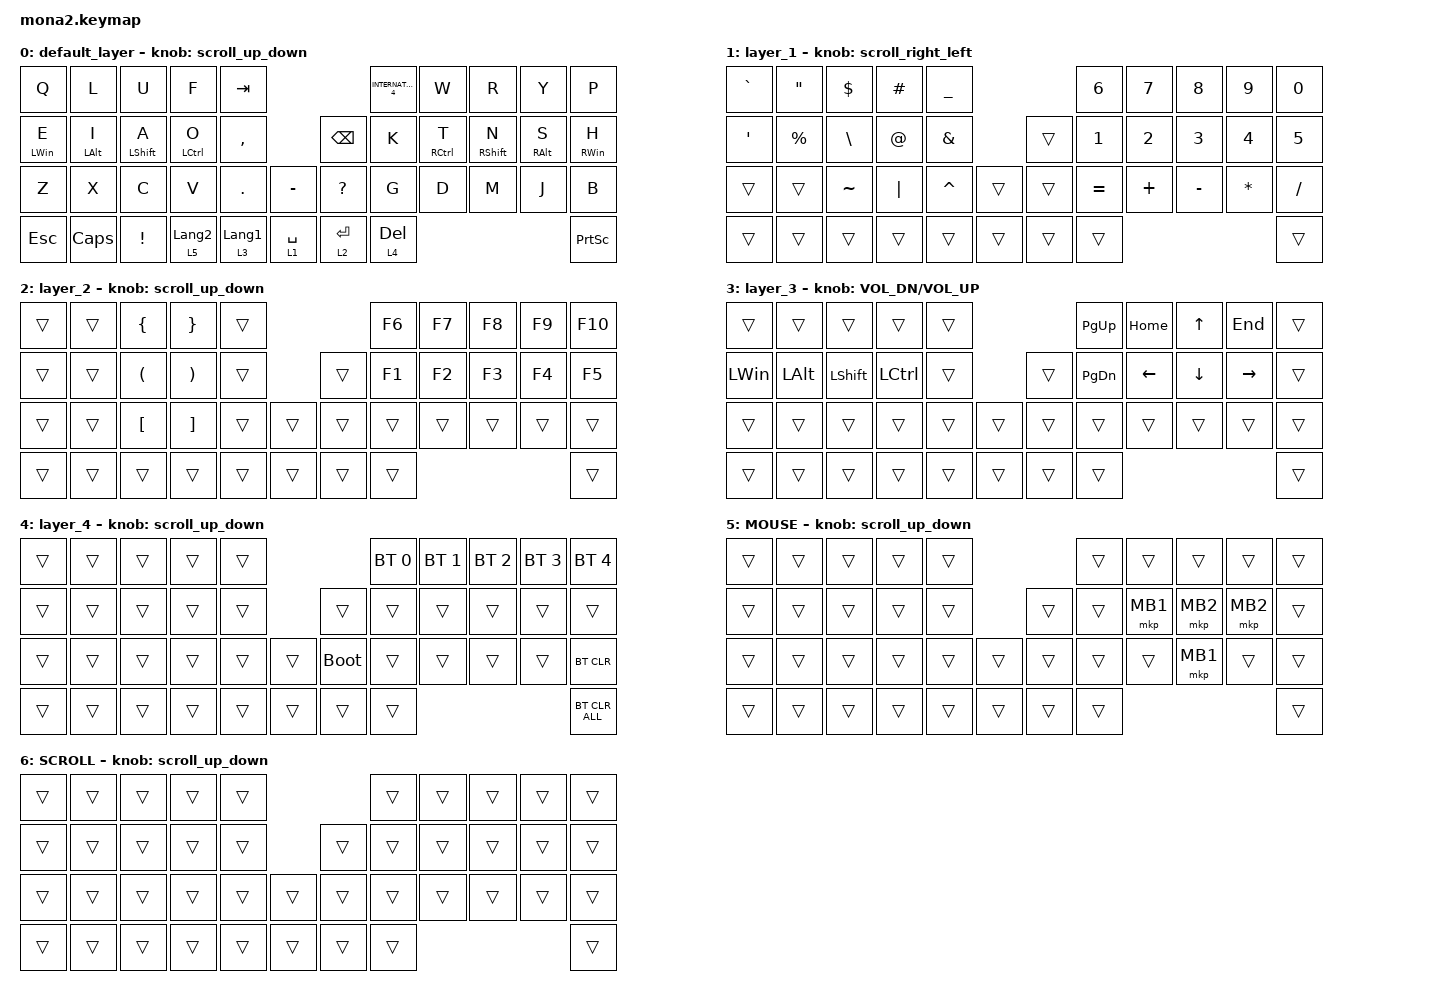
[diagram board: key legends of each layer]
#include <input/processors.dtsi>
#include <dt-bindings/zmk/input_transform.h>
#include <zephyr/dt-bindings/input/input-event-codes.h>
#include <behaviors.dtsi>
#include <dt-bindings/zmk/bt.h>
#include <dt-bindings/zmk/keys.h>
#include <dt-bindings/zmk/pointing.h>

#define ZMK_POINTING_DEFAULT_SCRL_VAL 100
#define MOUSE 5
#define SCROLL 6

&mt {
    flavor = "balanced";
    quick-tap-ms = <0>;
};

&lt {
    quick-tap-ms = <300>;
    flavor = "balanced";
};

/ {
    combos {
        compatible = "zmk,combos";

        layer4_ESC {
            bindings = <&lt 4 ESC>;
            key-positions = <39 38>;
        };

        tab {
            bindings = <&kp TAB>;
            key-positions = <11 12>;
        };
    };

    macros {
        to_layer_0: to_layer_0 {
            compatible = "zmk,behavior-macro-one-param";
            #binding-cells = <1>;
            bindings = <&to 0 &macro_param_1to1 &kp MACRO_PLACEHOLDER>;
            label = "TO_LAYER_0";
        };
    };

    behaviors {
        lt_to_layer_0: lt_to_layer_0 {
            compatible = "zmk,behavior-hold-tap";
            label = "LAYER_TAP_TO_0";
            bindings = <&mo>, <&to_layer_0>;

            #binding-cells = <2>;
            tapping-term-ms = <200>;
        };

        scroll_up_down: mouse_wheel_up_down {
            compatible = "zmk,behavior-sensor-rotate";
            #sensor-binding-cells = <0>;
            bindings = <&msc SCRL_DOWN>, <&msc SCRL_UP>;

            tap-ms = <20>;
        };

        scroll_right_left: mouse_wheel_right_left {
            compatible = "zmk,behavior-sensor-rotate";
            #sensor-binding-cells = <0>;
            bindings = <&msc SCRL_LEFT>, <&msc SCRL_RIGHT>;

            tap-ms = <20>;
        };
    };

    keymap {
        compatible = "zmk,keymap";

        default_layer {
            bindings = <
&kp Q           &kp L           &kp U             &kp F             &kp TAB                                         &kp INTERNATIONAL_4  &kp W        &kp R              &kp Y            &kp P
&mt LEFT_WIN E  &mt LEFT_ALT I  &mt LEFT_SHIFT A  &mt LCTRL O       &kp COMMA                        &kp BACKSPACE  &kp K                &mt RCTRL T  &mt RIGHT_SHIFT N  &mt RIGHT_ALT S  &mt RIGHT_WIN H
&kp Z           &kp X           &kp C             &kp V             &kp PERIOD        &kp MINUS      &kp QUESTION   &kp G                &kp D        &kp M              &kp J            &kp B
&kp ESCAPE      &kp CAPSLOCK    &kp EXCLAMATION   &lt 5 LANGUAGE_2  &lt 3 LANGUAGE_1  &lt 1 SPACE    &lt 2 ENTER    &lt 4 DELETE                                                          &kp PRINTSCREEN
            >;

            sensor-bindings = <&scroll_up_down>;
        };

        layer_1 {
            bindings = <
&kp GRAVE       &kp DOUBLE_QUOTES  &kp DOLLAR     &kp POUND    &kp UNDERSCORE                    &kp NUMBER_6  &kp NUMBER_7  &kp NUMBER_8  &kp NUMBER_9  &kp NUMBER_0
&kp APOSTROPHE  &kp PERCENT        &kp BACKSLASH  &kp AT_SIGN  &kp AMPERSAND             &trans  &kp NUMBER_1  &kp NUMBER_2  &kp NUMBER_3  &kp NUMBER_4  &kp NUMBER_5
&trans          &trans             &kp TILDE      &kp PIPE     &kp CARET       &trans    &trans  &kp EQUAL     &kp PLUS      &kp MINUS     &kp ASTERISK  &kp SLASH
&trans          &trans             &trans         &trans       &trans          &trans    &trans  &trans                                                  &trans
            >;

            sensor-bindings = <&scroll_right_left>;
        };

        layer_2 {
            bindings = <
&trans  &trans  &kp LEFT_BRACE        &kp RIGHT_BRACE        &trans                    &kp F6  &kp F7  &kp F8  &kp F9  &kp F10
&trans  &trans  &kp LEFT_PARENTHESIS  &kp RIGHT_PARENTHESIS  &trans            &trans  &kp F1  &kp F2  &kp F3  &kp F4  &kp F5
&trans  &trans  &kp LEFT_BRACKET      &kp RIGHT_BRACKET      &trans  &trans    &trans  &trans  &trans  &trans  &trans  &trans
&trans  &trans  &trans                &trans                 &trans  &trans    &trans  &trans                          &trans
            >;

            sensor-bindings = <&scroll_up_down>;
        };

        layer_3 {
            bindings = <
&trans        &trans        &trans          &trans     &trans                    &kp PAGE_UP    &kp HOME        &kp UP_ARROW    &kp END          &trans
&kp LEFT_WIN  &kp LEFT_ALT  &kp LEFT_SHIFT  &kp LCTRL  &trans            &trans  &kp PAGE_DOWN  &kp LEFT_ARROW  &kp DOWN_ARROW  &kp RIGHT_ARROW  &trans
&trans        &trans        &trans          &trans     &trans  &trans    &trans  &trans         &trans          &trans          &trans           &trans
&trans        &trans        &trans          &trans     &trans  &trans    &trans  &trans                                                          &trans
            >;

            sensor-bindings = <&inc_dec_kp C_VOL_DN C_VOL_UP>;
        };

        layer_4 {
            bindings = <
&trans  &trans  &trans  &trans  &trans                         &bt BT_SEL 0  &bt BT_SEL 1  &bt BT_SEL 2  &bt BT_SEL 3  &bt BT_SEL 4
&trans  &trans  &trans  &trans  &trans            &trans       &trans        &trans        &trans        &trans        &trans
&trans  &trans  &trans  &trans  &trans  &trans    &bootloader  &trans        &trans        &trans        &trans        &bt BT_CLR
&trans  &trans  &trans  &trans  &trans  &trans    &trans       &trans                                                  &bt BT_CLR_ALL
            >;

            sensor-bindings = <&scroll_up_down>;
        };

        MOUSE {
            bindings = <
&trans  &trans  &trans  &trans  &trans                    &trans  &trans    &trans    &trans    &trans
&trans  &trans  &trans  &trans  &trans            &trans  &trans  &mkp MB1  &mkp MB2  &mkp MB2  &trans
&trans  &trans  &trans  &trans  &trans  &trans    &trans  &trans  &trans    &mkp MB1  &trans    &trans
&trans  &trans  &trans  &trans  &trans  &trans    &trans  &trans                                &trans
            >;

            sensor-bindings = <&scroll_up_down>;
        };

        SCROLL {
            bindings = <
&trans  &trans  &trans  &trans  &trans                    &trans  &trans  &trans  &trans  &trans
&trans  &trans  &trans  &trans  &trans            &trans  &trans  &trans  &trans  &trans  &trans
&trans  &trans  &trans  &trans  &trans  &trans    &trans  &trans  &trans  &trans  &trans  &trans
&trans  &trans  &trans  &trans  &trans  &trans    &trans  &trans                          &trans
            >;

            sensor-bindings = <&scroll_up_down>;
        };
    };
};
